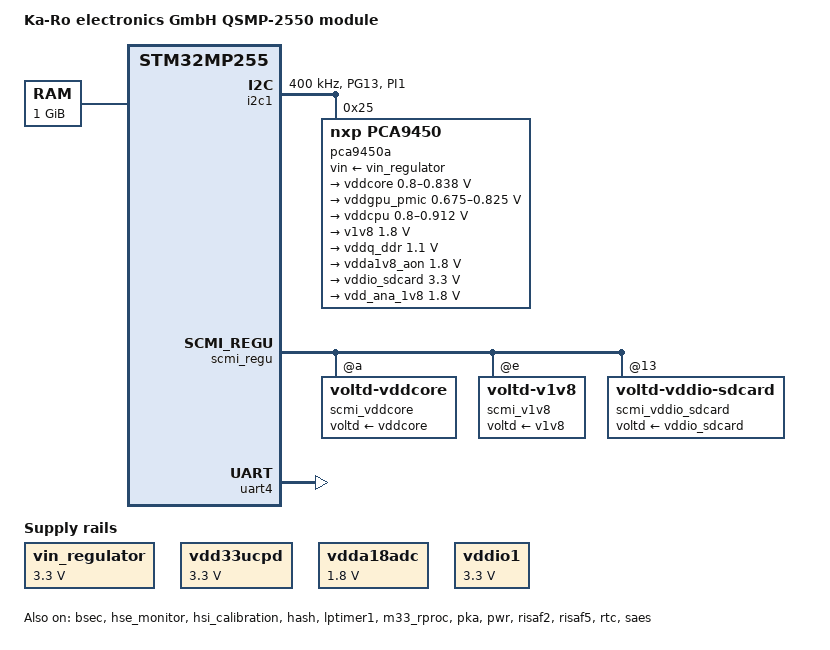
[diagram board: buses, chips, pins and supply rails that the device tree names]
// SPDX-License-Identifier: (GPL-2.0-or-later OR BSD-3-Clause)
/*
 * Copyright (C) 2024, STMicroelectronics - All Rights Reserved
 * Author: STM32CubeMX code generation for STMicroelectronics.
 */

/* For more information on Device Tree configuration, please refer to
 * https://wiki.st.com/stm32mpu/wiki/Category:Device_tree_configuration
 */

/dts-v1/;

#include <dt-bindings/pinctrl/stm32-pinfunc.h>
#include <dt-bindings/regulator/nxp,pca9450-regulator.h>
#include "stm32mp255.dtsi"
#include "stm32mp25-karo-resmem.dtsi"
#include "stm32mp255f-qsmp-2550-rcc.dtsi"
#include "stm32mp25xf.dtsi"
#include "stm32mp25xxak-pinctrl.dtsi"
#include "stm32mp255f-qsmp-2550-rif.dtsi"

/ {
	model = "Ka-Ro electronics GmbH QSMP-2550 module";
	compatible = "karo,stm32mp255f-qsmp-2550", "st,stm32mp255";

	aliases {
		serial0 = &uart4;
		serial1 = &usart3;
		serial2 = &uart5;
		i2c0 = &i2c1;
		i2c1 = &i2c2;
		i2c2 = &i2c6;
		i2c3 = &i2c7;
	};

	chosen {
		stdout-path = "serial0:115200n8";
	};

	memory@80000000 {
		device_type = "memory";
		reg = <0x00000000 0x80000000 0x00000000 0x40000000>;
	};

	vin_regulator: vdd {
		compatible = "regulator-fixed";
		regulator-name = "vdd";
		regulator-min-microvolt = <3300000>;
		regulator-max-microvolt = <3300000>;
		regulator-always-on;
	};
};

&bsec {
	status = "okay";
};

&cpu0 {
	cpu-supply = <&vddcpu>;
};

&cpu0_opp_table {
	opp-1500000000 {
		opp-microvolt = <912500>;
	};
};

&hse_monitor {
	status = "okay";
};

&hsi_calibration {
	status = "okay";
};

&hash {
	status = "okay";
};

&hpdma2 {
	status = "okay";
};

&hpdma3 {
	status = "okay";
};

&i2c1 {
	pinctrl-names = "default";
	pinctrl-0 = <&i2c1_pins>;
	i2c-scl-rising-time-ns = <185>;
	i2c-scl-falling-time-ns = <20>;
	clock-frequency = <400000>;
	status = "okay";

	pca9450a: pmic@25 {
		compatible = "nxp,pca9450";
		reg = <0x25>;
		vin-supply = <&vin_regulator>;
		wdog-b-reset = "none";	/* one of: all, cold, warm, disabled */
		pmic-rst-b = "cold";	/* dto. */
		status = "okay";

		regulators {
			vddcore: buck1 {
				regulator-name = "vddcore";
				regulator-min-microvolt = <800000>;
				regulator-max-microvolt = <837500>;
				regulator-always-on;

				default {
					regulator-on-in-suspend;
					regulator-suspend-microvolt = <825000>;
				};

				lplv {
					regulator-on-in-suspend;
					regulator-suspend-microvolt = <675000>;
				};

				standby {
					regulator-off-in-suspend;
				};

				off {
					regulator-off-in-suspend;
				};
			};

			vddgpu_pmic: buck2 {
				regulator-name = "vddgpu";
				regulator-min-microvolt = <675000>;
				regulator-max-microvolt = <825000>;
				regulator-always-on;

				default {
					regulator-on-in-suspend;
					regulator-suspend-microvolt = <825000>;
				};

				lplv {
					regulator-on-in-suspend;
					regulator-suspend-microvolt = <675000>;
				};

				standby {
					regulator-off-in-suspend;
				};

				off {
					regulator-off-in-suspend;
				};
			};

			vddcpu: buck3 {
				regulator-name = "vddcpu";
				regulator-min-microvolt = <800000>;
				regulator-max-microvolt = <912500>;
				regulator-always-on;

				default {
					regulator-off-in-suspend;
				};

				lplv {
					regulator-off-in-suspend;
				};

				standby {
					regulator-off-in-suspend;
				};

				off {
					regulator-off-in-suspend;
				};
			};

			v1v8: buck5 {
				regulator-name = "v1v8";
				regulator-min-microvolt = <1800000>;
				regulator-max-microvolt = <1800000>;
				regulator-always-on;

				default {
					regulator-on-in-suspend;
					regulator-suspend-microvolt = <1800000>;
				};

				lplv {
					regulator-on-in-suspend;
					regulator-suspend-microvolt = <1800000>;
				};

				standby {
					regulator-off-in-suspend;
				};

				off {
					regulator-off-in-suspend;
				};
			};

			vddq_ddr: buck6 {
				regulator-name = "vddq_ddr";
				regulator-min-microvolt = <1100000>;
				regulator-max-microvolt = <1100000>;
				regulator-always-on;

				default {
					regulator-on-in-suspend;
					regulator-suspend-microvolt = <1100000>;
				};

				lplv {
					regulator-on-in-suspend;
					regulator-suspend-microvolt = <1100000>;
				};

				standby {
					regulator-on-in-suspend;
					regulator-suspend-microvolt = <1100000>;
				};

				off {
					regulator-off-in-suspend;
				};
			};

			vdda1v8_aon: ldo1 {
				regulator-name = "vdda1v8_aon";
				regulator-min-microvolt = <1800000>;
				regulator-max-microvolt = <1800000>;
				regulator-always-on;
			};

			vddio_sdcard: ldo3 {
				regulator-name = "vddio_sdcard";
				regulator-min-microvolt = <3300000>;
				regulator-max-microvolt = <3300000>;
				regulator-always-on;
			};

			vdd_ana_1v8: ldo4 {
				regulator-name = "vdd_ana_1v8";
				regulator-min-microvolt = <1800000>;
				regulator-max-microvolt = <1800000>;
				regulator-always-on;
			};
		};
	};
};

&ipcc1 {
	status = "okay";
};

&iwdg1 {
//	status = "okay";
};

&lptimer1 {
	status = "okay";

	counter {
		status = "okay";
	};
};

&m33_rproc {
	status = "okay";
};

&pka {
	status = "okay";
};

&pwr {
	status = "okay";
};

&rcc {
	st,c1msrd = <2>;
	st,clk_opp {
		st,ck_cpu1 {
			cfg-1 {
				hz = <1000000000>;
				st,clksrc = <0>;
				st,pll = <&pll1_cfg_1000MHz>;
			};

			cfg-2 {
				hz = <1200000000>;
				st,clksrc = <0>;
				st,pll = <&pll1_cfg_1200MHz>;
			};

			cfg-3 {
				hz = <1500000000>;
				st,clksrc = <0>;
				st,pll = <&pll1_cfg_1500MHz>;
			};
		};
	};
};

&risaf2 {
	status = "okay";
};

&risaf5 {
	status = "okay";
};

&rtc {
	status = "okay";
};

&saes {
	status = "okay";
};

&scmi_regu {
	scmi_vddcore: voltd-vddcore@a {
		reg = <VOLTD_SCMI_PCA9450_BUCK1>;
		voltd-supply = <&vddcore>;
	};

	scmi_v1v8: voltd-v1v8@e {
		reg = <VOLTD_SCMI_PCA9450_BUCK5>;
		voltd-supply = <&v1v8>;
	};

	scmi_vddio_sdcard: voltd-vddio-sdcard@13 {
		reg = <VOLTD_SCMI_PCA9450_LDO3>;
		voltd-supply = <&vddio_sdcard>;
	};
};

&tamp {
	wakeup-source;
	wakeup-parent = <&exti2>;
	st,tamp-passive-precharge = <2>;
	st,tamp-passive-nb-sample = <4>;
	st,tamp-passive-sample-clk-div = <16384>;
};

&uart4 {
	/* U-Boot console */
	pinctrl-names = "default";
	pinctrl-0 = <&uart4_pins>;
	status = "okay";
};

&uart5 {
	pinctrl-names = "default";
	pinctrl-0 = <&uart5_pins>;
};

&usart3 {
	pinctrl-names = "default";
	pinctrl-0 = <&usart3_pins>;
};

/* PWR regulators */
&vdd33ucpd {
	regulator-min-microvolt = <3300000>;
	regulator-max-microvolt = <3300000>;
	vdd33ucpd-supply = <&vin_regulator>;
	regulator-always-on;
	status = "okay";
};

&vdda18adc {
	regulator-min-microvolt = <1800000>;
	regulator-max-microvolt = <1800000>;
	vdda18adc-supply = <&v1v8>;
	regulator-always-on;
	status = "okay";
};

&vddgpu {
	vddgpu-supply = <&vddgpu_pmic>;
	status = "okay";
};

&vddio1 {
	regulator-min-microvolt = <3300000>;
	regulator-max-microvolt = <3300000>;
	vddio1-supply = <&vddio_sdcard>;
	status = "okay";
};

&vddio2 {
	vddio2-supply = <&v1v8>;
	regulator-always-on;
	status = "okay";
};

&vddio3 {
	vddio3-supply = <&vin_regulator>;
	regulator-always-on;
	status = "okay";
};

&vddio4 {
	vddio4-supply = <&vin_regulator>;
	regulator-always-on;
	status = "okay";
};

&vddio {
	vdd-supply = <&vin_regulator>;
	status = "okay";
};

&pinctrl {
	i2c1_pins: i2c1-pins {
		pins1 {
			pinmux = <
			          STM32_PINMUX('G', 13, AF9)	/* I2C1_SCL */
				  STM32_PINMUX('I', 1, AF9)	/* I2C1_SDA */
			>;
			bias-disable;
			drive-open-drain;
			slew-rate = <0>;
		};
	};

	i2c1_sleep_pins: i2c1-sleep-pins {
		pins1 {
			pinmux = <
			          STM32_PINMUX('G', 13, ANALOG)	/* I2C1_SCL */
				  STM32_PINMUX('I', 1, ANALOG)	/* I2C1_SDA */
			>;
		};
	};

	uart4_pins: uart4-pins {
		pins1 {
			pinmux = <STM32_PINMUX_NSEC('B', 7, AF3)>;	/* UART4_TX */
			bias-disable;
			drive-push-pull;
			slew-rate = <0>;
		};

		pins2 {
			pinmux = <STM32_PINMUX_NSEC('B', 6, AF3)>;	/* UART4_RX */
			bias-pull-up;
		};
	};

	uart5_pins: uart5-pins {
		pins1 {
			pinmux = <STM32_PINMUX_NSEC('G', 9, AF6)>;	/* UART5_TX */
			bias-disable;
			drive-push-pull;
			slew-rate = <0>;
		};

		pins2 {
			pinmux = <STM32_PINMUX_NSEC('G', 10, AF6)>;	/* UART5_RX */
			bias-pull-up;
		};
	};

	usart3_pins: usart3-pins {
		pins1 {
			pinmux = <STM32_PINMUX_NSEC('I', 6, AF6)>;	/* USART3_TX */
			bias-disable;
			drive-push-pull;
			slew-rate = <0>;
		};

		pins2 {
			pinmux = <STM32_PINMUX_NSEC('I', 7, AF6)>;	/* USART3_RX */
			bias-pull-up;
		};
	};
};
